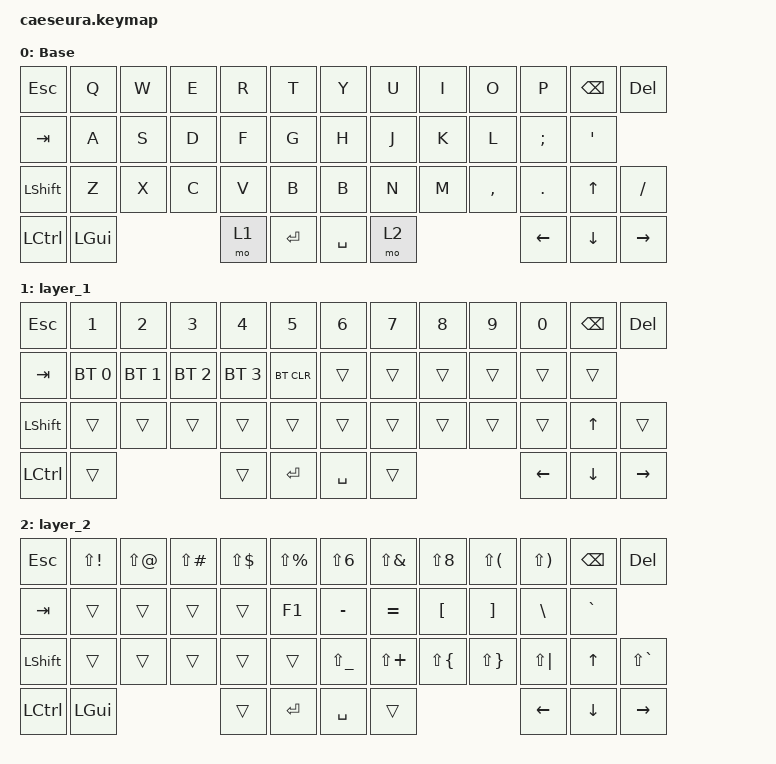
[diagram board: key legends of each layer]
#include <behaviors.dtsi>
#include <dt-bindings/zmk/bt.h>
#include <dt-bindings/zmk/keys.h>

/ {
    keymap {
        compatible = "zmk,keymap";

        base {
            display-name = "Base";
            bindings = <
&kp ESC    &kp Q         &kp W  &kp E  &kp R  &kp T    &kp Y      &kp U  &kp I  &kp O      &kp P     &kp BSPC  &kp DEL
&kp TAB    &kp A         &kp S  &kp D  &kp F  &kp G    &kp H      &kp J  &kp K  &kp L      &kp SEMI  &kp SQT
&kp LSHFT  &kp Z         &kp X  &kp C  &kp V  &kp B    &kp B      &kp N  &kp M  &kp COMMA  &kp DOT   &kp UP    &kp FSLH
&kp LCTRL  &kp LEFT_GUI                &mo 1  &kp RET  &kp SPACE  &mo 2                    &kp LEFT  &kp DOWN  &kp RIGHT
            >;
        };

        layer_1 {
            bindings = <
&kp ESC    &kp N1        &kp N2        &kp N3        &kp N4        &kp N5      &kp N6     &kp N7  &kp N8  &kp N9  &kp N0    &kp BSPC  &kp DEL
&kp TAB    &bt BT_SEL 0  &bt BT_SEL 1  &bt BT_SEL 2  &bt BT_SEL 3  &bt BT_CLR  &trans     &trans  &trans  &trans  &trans    &trans
&kp LSHFT  &trans        &trans        &trans        &trans        &trans      &trans     &trans  &trans  &trans  &trans    &kp UP    &trans
&kp LCTRL  &trans                                    &trans        &kp RET     &kp SPACE  &trans                  &kp LEFT  &kp DOWN  &kp RIGHT
            >;
        };

        layer_2 {
            bindings = <
&kp ESC    &kp LS(EXCL)  &kp LS(AT)  &kp LS(POUND)  &kp LS(DLLR)  &kp LS(PRCNT)  &kp LS(NUMBER_6)  &kp LS(AMPS)  &kp LS(N8)    &kp LS(LPAR)  &kp LS(RPAR)  &kp BSPC   &kp DEL
&kp TAB    &trans        &trans      &trans         &trans        &kp F1         &kp MINUS         &kp EQUAL     &kp LBKT      &kp RBKT      &kp BSLH      &kp GRAVE
&kp LSHFT  &trans        &trans      &trans         &trans        &trans         &kp LS(UNDER)     &kp LS(PLUS)  &kp LS(LBRC)  &kp LS(RBRC)  &kp LS(PIPE)  &kp UP     &kp LS(GRAVE)
&kp LCTRL  &kp LGUI                                 &trans        &kp RET        &kp SPACE         &trans                                    &kp LEFT      &kp DOWN   &kp RIGHT
            >;
        };
    };
};
